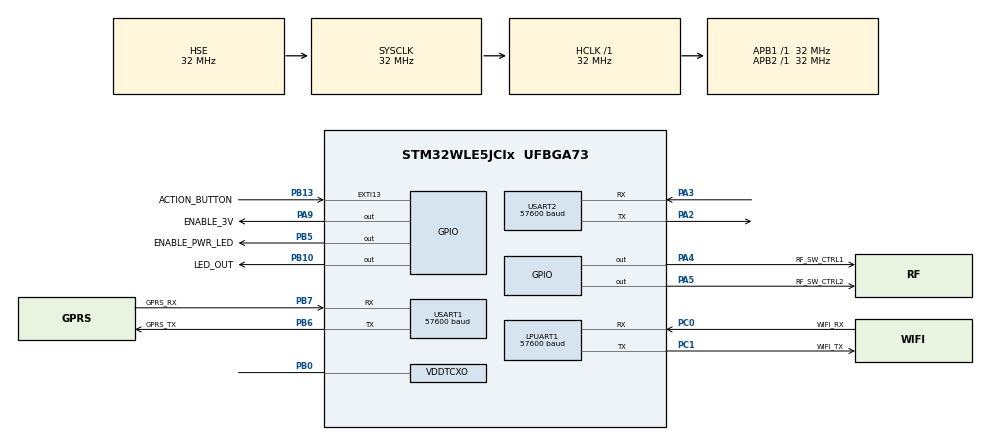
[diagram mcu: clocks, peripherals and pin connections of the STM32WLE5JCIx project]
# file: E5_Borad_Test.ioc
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ADC.ClockPrescaler=ADC_CLOCK_SYNC_PCLK_DIV4
ADC.NbrOfConversion=1
ADC.Overrun=ADC_OVR_DATA_OVERWRITTEN
ADC.SamplingTimeCommon1=ADC_SAMPLETIME_160CYCLES_5
ADC.SamplingTimeCommon2=ADC_SAMPLETIME_160CYCLES_5
ADC.SelectedChannel=ADC_CHANNEL_TEMPSENSOR|ADC_CHANNEL_VREFINT
Dma.Request0=USART1_TX
Dma.USART1_TX.0.Direction=DMA_MEMORY_TO_PERIPH
Dma.USART1_TX.0.EventEnable=DISABLE
Dma.USART1_TX.0.Instance=DMA1_Channel1
Dma.USART1_TX.0.MemDataAlignment=DMA_MDATAALIGN_BYTE
Dma.USART1_TX.0.MemInc=DMA_MINC_ENABLE
Dma.USART1_TX.0.Mode=DMA_NORMAL
Dma.USART1_TX.0.PeriphDataAlignment=DMA_PDATAALIGN_BYTE
Dma.USART1_TX.0.PeriphInc=DMA_PINC_DISABLE
Dma.USART1_TX.0.Polarity=HAL_DMAMUX_REQ_GEN_RISING
Dma.USART1_TX.0.Priority=DMA_PRIORITY_LOW
Dma.USART1_TX.0.RequestNumber=1
Dma.USART1_TX.0.SignalID=NONE
Dma.USART1_TX.0.SyncEnable=DISABLE
Dma.USART1_TX.0.SyncPolarity=HAL_DMAMUX_SYNC_NO_EVENT
Dma.USART1_TX.0.SyncRequestNumber=1
Dma.USART1_TX.0.SyncSignalID=NONE
IWDG.Prescaler=IWDG_PRESCALER_4
IWDG.Reload=4095
IWDG.Window=4095
LPUART1.BaudRate=57600
Mcu.Family=STM32WL
Mcu.Name=STM32WLE5JCIx
Mcu.Package=UFBGA73
Mcu.UserConstants=RTC_PREDIV_A,((1<<(15-RTC_N_PREDIV_S))-1);RTC_N_PREDIV_S,10;RTC_PREDIV_S,((1<<RTC_N_PREDIV_S)-1)
NVIC.LPUART1_IRQn=true\:0\:0\:false\:false\:true\:true\:true\:true
NVIC.PriorityGroup=NVIC_PRIORITYGROUP_4
NVIC.SUBGHZ_Radio_IRQn=true\:6\:0\:true\:false\:true\:true\:true\:true
NVIC.TIM2_IRQn=true\:0\:0\:false\:false\:true\:true\:true\:true
NVIC.USART2_IRQn=true\:0\:0\:false\:false\:true\:true\:true\:true
OSC_IN.Mode=HSE-TCXO
OSC_IN.Signal=RCC_OSC_IN
PA2.Mode=Asynchronous
PA2.Signal=USART2_TX
PA3.Mode=Asynchronous
PA3.Signal=USART2_RX
PA4.GPIO_Label=RF_SW_CTRL1
PA4.GPIO_Speed=GPIO_SPEED_FREQ_VERY_HIGH
PA4.Signal=GPIO_Output
PA5.GPIO_Label=RF_SW_CTRL2
PA5.GPIO_Speed=GPIO_SPEED_FREQ_VERY_HIGH
PA5.Signal=GPIO_Output
PA9.GPIO_Label=ENABLE_3V
PA9.GPIO_Speed=GPIO_SPEED_FREQ_LOW
PA9.PinState=GPIO_PIN_SET
PA9.Signal=GPIO_Output
PB0-VDD_TCXO.Mode=HSE-TCXO
PB0-VDD_TCXO.Signal=VDDTCXO
PB10.GPIO_Label=LED_OUT
PB10.GPIO_PuPd=GPIO_PULLUP
PB10.PinState=GPIO_PIN_SET
PB10.Signal=GPIO_Output
PB13.GPIO_Label=ACTION_BUTTON
PB13.GPIO_PuPd=GPIO_PULLUP
PB13.Signal=GPXTI13
PB5.GPIO_Label=ENABLE_PWR_LED
PB5.PinState=GPIO_PIN_RESET
PB5.Signal=GPIO_Output
PB6.GPIO_Label=GPRS_TX
PB6.GPIO_PuPd=GPIO_PULLUP
PB6.Mode=Asynchronous
PB6.Signal=USART1_TX
PB7.GPIO_Label=GPRS_RX
PB7.GPIO_PuPd=GPIO_PULLUP
PB7.Mode=Asynchronous
PB7.Signal=USART1_RX
PC0.GPIO_Label=WIFI_RX
PC0.GPIO_PuPd=GPIO_PULLUP
PC0.GPIO_Speed=GPIO_SPEED_FREQ_HIGH
PC0.Mode=Asynchronous
PC0.Signal=LPUART1_RX
PC1.GPIO_Label=WIFI_TX
PC1.GPIO_PuPd=GPIO_PULLUP
PC1.GPIO_Speed=GPIO_SPEED_FREQ_HIGH
PC1.Mode=Asynchronous
PC1.Signal=LPUART1_TX
PC14-OSC32_IN.Mode=LSE-External-Oscillator
PC14-OSC32_IN.Signal=RCC_OSC32_IN
PC15-OSC32_OUT.Mode=LSE-External-Oscillator
PC15-OSC32_OUT.Signal=RCC_OSC32_OUT
ProjectManager.HeapSize=0x200
ProjectManager.StackSize=0x400
ProjectManager.TargetToolchain=Makefile
RCC.AHBFreq_Value=32000000
RCC.APB1Freq_Value=32000000
RCC.APB1TimFreq_Value=32000000
RCC.APB2Freq_Value=32000000
RCC.APB2TimFreq_Value=32000000
RCC.APB3Freq_Value=32000000
RCC.CortexFreq_Value=32000000
RCC.HCLKFreq_Value=32000000
RCC.HSE_VALUE=32000000
RCC.HSI_VALUE=16000000
RCC.LSE_VALUE=32768
RCC.PLLSourceVirtual=RCC_PLLSOURCE_HSE
RCC.RTCClockSelection=RCC_RTCCLKSOURCE_HSE_DIV32
RCC.SYSCLKFreq_VALUE=32000000
RCC.SYSCLKSource=RCC_SYSCLKSOURCE_HSE
RCC.VCOOutputFreq_Value=256000000
RTC.Alarm-Alarm\ A=RTC_ALARM_A
SUBGHZ.BaudratePrescaler=SUBGHZSPI_BAUDRATEPRESCALER_4
SUBGHZ_PHY.APP_LOG_ENABLED=false
SUBGHZ_PHY.Activate_RADIO_BOARD_INTERFACE=Bsp
SUBGHZ_PHY.LORA_FIX_LENGTH_PAYLOAD_ON=true
SUBGHZ_PHY.LOW_POWER_DISABLE=true
SUBGHZ_PHY.MW_LOG_ENABLED=false
SUBGHZ_PHY.RF_FREQUENCY=868000000
SUBGHZ_PHY.SUBGHZ_APPLICATION=SUBGHZ_ADV_APPLICATION
SubGHz_Phy.BSP.number=2
SubGHz_Phy0.BSP.STBoard=false
SubGHz_Phy0.BSP.api=Unknown
SubGHz_Phy0.BSP.condition=\!SEM_SUBGHZ_USER_APPLICATION | SEM_SUBGHZ_USE_RTC
SubGHz_Phy0.BSP.instance=RTC
SubGHz_Phy0.BSP.ip=RTC
SubGHz_Phy0.BSP.mode=RTC Enabled
SubGHz_Phy0.BSP.name=RTC
SubGHz_Phy0.BSP.solution=RTC
SubGHz_Phy1.BSP.STBoard=false
SubGHz_Phy1.BSP.api=Unknown
SubGHz_Phy1.BSP.condition=\!SEM_SUBGHZ_USER_APPLICATION | SEM_SUBGHZ_USE_UART
SubGHz_Phy1.BSP.instance=USART1
SubGHz_Phy1.BSP.ip=(LPU|US)ART
SubGHz_Phy1.BSP.mode=Asynchronous
SubGHz_Phy1.BSP.name=USART
SubGHz_Phy1.BSP.solution=USART1
TIM2.Prescaler=32000-1
USART1.BaudRate=57600
USART1.VirtualMode-Asynchronous=VM_ASYNC
USART2.BaudRate=57600
USART2.VirtualMode-Asynchronous=VM_ASYNC
VP_ADC_TempSens_Input.Mode=IN-TempSens
VP_ADC_Vref_Input.Mode=IN-Vrefint
VP_ADV_TRACE_VS_ADV_TRACE.Mode=ADV_TRACE_Enabled
VP_IWDG_VS_IWDG.Mode=IWDG_Activate
VP_MISC_VS_MISC.Mode=MISC_Enabled
VP_RTC_VS_RTC_Activate.Mode=RTC_Enabled
VP_RTC_VS_RTC_Alarm_A_Intern.Mode=Alarm A
VP_RTC_VS_RTC_Calendar.Mode=RTC_Calendar
VP_SEQUENCER_VS_SEQUENCER.Mode=SEQUENCER_Enabled
VP_SUBGHZ_PHY_VS_SubGhzPhy.Mode=SubGhzPhy_Enabled
VP_SUBGHZ_VS_SUBGHZ.Mode=SUBGHZ_Activate
VP_TIM2_VS_ClockSourceINT.Mode=Internal
VP_TIMER_VS_TIMER.Mode=TIMER_Enabled
VP_TINY_LPM_VS_TINY_LPM.Mode=TINY_LPM_Enabled
board=custom

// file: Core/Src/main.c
/* USER CODE BEGIN Header */
/**
 ******************************************************************************
 * @file           : main.c
 * @brief          : Main program body
 ******************************************************************************
 * @attention
 *
 * Copyright (c) 2024 STMicroelectronics.
 * All rights reserved.
 *
 * This software is licensed under terms that can be found in the LICENSE file
 * in the root directory of this software component.
 * If no LICENSE file comes with this software, it is provided AS-IS.
 *
 ******************************************************************************
 */
/* USER CODE END Header */
#include "../Inc/main.h"
#include "../Inc/adc.h"
#include "../Inc/adc_if.h"
#include "../Inc/app_subghz_phy.h"
#include "../Inc/dma.h"
#include "../Inc/gpio.h"
#include "../Inc/rtc.h"
#include "../Inc/tim.h"
#include "../Inc/usart.h"
#include "../Inc/user_system.h"
#include "../Inc/user_gsm.h"
#include <stdio.h>

/* USER CODE BEGIN Includes */
#include "../Inc/iwdg.h"
#include "../Inc/stm32wlxx.h"
#include "../Inc/subghz_phy_app.h"

#include "../Inc/user_mqttFunctions.h"
#include "../Inc/user_wifi.h"

/* USER CODE END Includes */

static uint32_t timer2sStatus = 0;
static uint32_t timer5sStatus = 0;
static uint32_t dataOkStatus = 0;
static uint32_t loraGetMsgCounter = 0;
static uint8_t mqttMessageCounter = 0;

/* USER CODE BEGIN PV */
HAL_StatusTypeDef uart2status = HAL_OK;
int32_t timer20sStatus = 0;
int32_t loraRecieveOkStatus = 0;
uint8_t debugDifference = 0;
bool sendMqttData = false;
bool systemResetFlag = false;
/* USER CODE END PV */

void SystemClock_Config(void);

/* USER CODE BEGIN 0 */
int _write(int fd, unsigned char *buf, int len) {
  if (fd == 1 || fd == 2) { // stdout or stderr ?
    // HAL_UART_Transmit(&huart1, buf, len, 999); // Print to the UART
    uart2status =
        HAL_UART_Transmit(&huart1, buf, len, 999); // Print to the UART
                                                   // Orange wire => RX2
                                                   // Yellow wire => TX2
  }
  return len;
}

uint64_t mg_millis(void) { return HAL_GetTick(); }

/* USER CODE END 0 */

int main(void) {

  /* MCU Configuration--------------------------------------------------------*/

  /* Reset of all peripherals, Initializes the Flash interface and the Systick.
   */
  HAL_Init();

  /* Configure the system clock */
  SystemClock_Config();

  /* Initialize all configured peripherals */
  MX_GPIO_Init();
  MX_DMA_Init();
  MX_USART1_UART_Init();
  MX_RTC_Init();
  MX_SubGHz_Phy_Init();
  MX_USART2_UART_Init();
  MX_ADC_Init();
  MX_TIM2_Init();
  MX_LPUART1_UART_Init();
  /* USER CODE BEGIN 2 */

  /* Init ticks */
  HAL_TIM_Base_Start_IT(&htim2);
  initDelayCustomTimer();
  /* Long delay is given to spot if the gate way got reset */
  // Delay_CustomTimer(40000);
  timer2sStatus = getTick_CustomTimer_Sec();
  timer5sStatus = getTick_CustomTimer_Sec();
  timer20sStatus = getTick_CustomTimer_Sec();
  dataOkStatus = getTick_CustomTimer_Sec();
  loraRecieveOkStatus = getTick_CustomTimer_Sec();

  printf("\r\n\r\n**********IOT Gateway**********\r\n\r\n");
  initUart();
  Delay_CustomTimer(3000);

  // initWifi();
  // startServer();
  // Delay_CustomTimer(1000);
  // setGotHttpRequest(false);

  /* TODO: Replace While loop with button based logic
    need to save the topics in some where in the memory
    */
  // while (true) {
  //   serveHttpRequest();
  // }

  // setLastCommandOK(true);
  Delay_CustomTimer(1000);
  sendATCommand("AT", "", AT_OK, NO_AT);

  gsmInit();
  initSensorFilter();
  setMqttTopic();
  /* USER CODE END 2 */

  /* Infinite loop */
  /* USER CODE BEGIN WHILE */
  printf("\r\n\r\n**********Main Loop**********\r\n\r\n");

  /* Init IWDG */
  initIwdg();

  while (1) {
    /* USER CODE END WHILE */

    /* USER CODE BEGIN 3 */
    listenForLoraNodes();

    if (isLoraReceived()) {
      processIncomingLoraMessage();
      setLoraReceived(false);
    }

    /* Run filter in Data received through LoRa. rawDataReceived flag is set in
     * the LoRa interrupt callback OnRxDone() */
    if (isRawDataReceived()) {
      runAllFilter();
      setRawDataReceived(false);
      loraRecieveOkStatus = getTick_CustomTimer_Sec();
    }

    if (getTick_CustomTimer_Sec() - timer20sStatus >
        MQTT_DATA_SEND_MAIN_INTERVAL) {
      sendMqttData = true;
      timer20sStatus = getTick_CustomTimer_Sec();
    }

    if (sendMqttData) {
      if (getTick_CustomTimer_Sec() - timer5sStatus > MQTT_DATA_SEND_INTERVAL) {
        prepareMqttMessageStruct(mqttMessageCounter);
        if (sendDataToMqttBroker(mqttMessageCounter) != NO_ERROR) {
          printf("Error sending data to MQTT Broker\r\n");
        } else {
          dataOkStatus = getTick_CustomTimer_Sec();
        }

        /* MQTT Send counter updated based on NUMBER_OF_SENSORS */
        mqttMessageCounter++;
        mqttMessageCounter = mqttMessageCounter % NUMBER_OF_SENSORS;

        /* Update last tick */
        timer5sStatus = getTick_CustomTimer_Sec();
      }
      if (mqttMessageCounter == 0) {
        sendMqttData = false;
      }
    }

    if (getTick_CustomTimer_Sec() - dataOkStatus > MAX_TIME_CANNOT_SEND_MQTT) {
      printf("**MQTT data cannot be send for 2 min**\r\n");
      printf("**Please check Network and SIM card.**\r\n");
      systemResetFlag = true;
    }

    if (getTick_CustomTimer_Sec() - loraRecieveOkStatus >
        MAX_TIME_LORA_INCOMING_MISSING) {
      printf("**LoRa data not receiving for 5 min**\r\n");
      printf("**\r\nPlease check End nodes. Atleast one End node should be "
             "responding**\r\n");
      systemResetFlag = true;
    }

    if (getTick_CustomTimer_Sec() - timer2sStatus > 1) {
      getDataFromEndNode(sensorID_0 + loraGetMsgCounter, getSensorType());
      loraGetMsgCounter++;
      loraGetMsgCounter = loraGetMsgCounter % NUMBER_OF_SENSORS;

      timer2sStatus = getTick_CustomTimer_Sec();
    }

    if (systemResetFlag) {
      printf("\r\n*****************************\r\n");
      printf("\r\n**System Reset after 10 sec**\r\n");
      printf("\r\n*****************************\r\n");
      Delay_CustomTimer(10000);
      NVIC_SystemReset();
    }
    setLastCommandOK(true);
    cleanAllBuffers();

    refreshIwdg();
  }
  /* USER CODE END 3 */
}

void SystemClock_Config(void) {
  RCC_OscInitTypeDef RCC_OscInitStruct = {0};
  RCC_ClkInitTypeDef RCC_ClkInitStruct = {0};

  /** Configure the main internal regulator output voltage
   */
  __HAL_PWR_VOLTAGESCALING_CONFIG(PWR_REGULATOR_VOLTAGE_SCALE1);

  /** Initializes the CPU, AHB and APB buses clocks
   */
  RCC_OscInitStruct.OscillatorType =
      RCC_OSCILLATORTYPE_LSI | RCC_OSCILLATORTYPE_HSE;
  RCC_OscInitStruct.HSEState = RCC_HSE_BYPASS_PWR;
  RCC_OscInitStruct.LSIDiv = RCC_LSI_DIV1;
  RCC_OscInitStruct.HSEDiv = RCC_HSE_DIV1;
  RCC_OscInitStruct.LSIState = RCC_LSI_ON;
  RCC_OscInitStruct.PLL.PLLState = RCC_PLL_NONE;
  if (HAL_RCC_OscConfig(&RCC_OscInitStruct) != HAL_OK) {
    Error_Handler();
  }

  /** Configure the SYSCLKSource, HCLK, PCLK1 and PCLK2 clocks dividers
   */
  RCC_ClkInitStruct.ClockType = RCC_CLOCKTYPE_HCLK3 | RCC_CLOCKTYPE_HCLK |
                                RCC_CLOCKTYPE_SYSCLK | RCC_CLOCKTYPE_PCLK1 |
                                RCC_CLOCKTYPE_PCLK2;
  RCC_ClkInitStruct.SYSCLKSource = RCC_SYSCLKSOURCE_HSE;
  RCC_ClkInitStruct.AHBCLKDivider = RCC_SYSCLK_DIV1;
  RCC_ClkInitStruct.APB1CLKDivider = RCC_HCLK_DIV1;
  RCC_ClkInitStruct.APB2CLKDivider = RCC_HCLK_DIV1;
  RCC_ClkInitStruct.AHBCLK3Divider = RCC_SYSCLK_DIV1;

  if (HAL_RCC_ClockConfig(&RCC_ClkInitStruct, FLASH_LATENCY_1) != HAL_OK) {
    Error_Handler();
  }
}

/* USER CODE BEGIN 4 */
void resetAllTimerState(void) {
  loraRecieveOkStatus = getTick_CustomTimer_Sec();
  dataOkStatus = getTick_CustomTimer_Sec();
}
/* USER CODE END 4 */

void Error_Handler(void) {
  __disable_irq();
  while (1) {
  }
}

#ifdef USE_FULL_ASSERT
/**
 * @brief  Reports the name of the source file and the source line number
 *         where the assert_param error has occurred.
 * @param  file: pointer to the source file name
 * @param  line: assert_param error line source number
 * @retval None
 */
void assert_failed(uint8_t *file, uint32_t line) {
  /* USER CODE BEGIN 6 */
  /* User can add his own implementation to report the file name and line
     number,
     ex: printf("Wrong parameters value: file %s on line %d\r\n", file, line) */
  /* USER CODE END 6 */
}
#endif /* USE_FULL_ASSERT */
